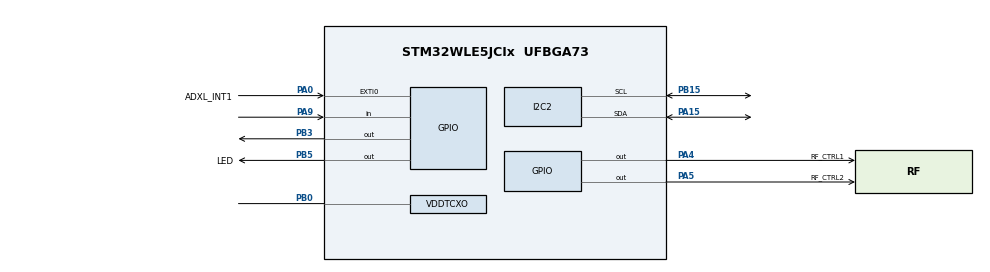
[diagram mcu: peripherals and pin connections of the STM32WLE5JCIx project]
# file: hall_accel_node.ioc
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ADC.NbrOfConversion=1
ADC.SamplingTimeCommon1=ADC_SAMPLETIME_79CYCLES_5
ADC.SamplingTimeCommon2=ADC_SAMPLETIME_79CYCLES_5
ADC.SelectedChannel=ADC_CHANNEL_VREFINT
I2C2.Timing=0x10805D88
Mcu.Family=STM32WL
Mcu.Name=STM32WLE5JCIx
Mcu.Package=UFBGA73
NVIC.EXTI0_IRQn=true\:0\:0\:false\:false\:true\:true\:true\:true
NVIC.PVD_PVM_IRQn=true\:0\:0\:false\:false\:true\:true\:true\:true
NVIC.PriorityGroup=NVIC_PRIORITYGROUP_4
NVIC.SUBGHZ_Radio_IRQn=true\:0\:0\:false\:false\:true\:true\:true\:true
NVIC.TIM17_IRQn=true\:15\:0\:false\:false\:true\:false\:true\:true
NVIC.TimeBase=TIM17_IRQn
NVIC.TimeBaseIP=TIM17
OSC_IN.Mode=HSE-TCXO
OSC_IN.Signal=RCC_OSC_IN
PA0.GPIO_Label=ADXL_INT1
PA0.GPIO_PuPd=GPIO_PULLDOWN
PA0.Signal=GPXTI0
PA15.Mode=I2C
PA15.Signal=I2C2_SDA
PA4.GPIO_Label=RF_CTRL1
PA4.Signal=GPIO_Output
PA5.GPIO_Label=RF_CTRL2
PA5.Signal=GPIO_Output
PA9.GPIO_PuPd=GPIO_PULLUP
PA9.Signal=GPIO_Input
PB0-VDD_TCXO.Mode=HSE-TCXO
PB0-VDD_TCXO.Signal=VDDTCXO
PB15.Mode=I2C
PB15.Signal=I2C2_SCL
PB3.Signal=GPIO_Output
PB5.GPIO_Label=LED
PB5.PinState=GPIO_PIN_SET
PB5.Signal=GPIO_Output
PB6.Signal=USART1_TX
PB7.Signal=USART1_RX
PC14-OSC32_IN.Mode=LSE-External-Oscillator
PC14-OSC32_IN.Signal=RCC_OSC32_IN
PC15-OSC32_OUT.Mode=LSE-External-Oscillator
PC15-OSC32_OUT.Signal=RCC_OSC32_OUT
ProjectManager.HeapSize=0x200
ProjectManager.StackSize=0x400
ProjectManager.TargetToolchain=STM32CubeIDE
RCC.AHBFreq_Value=48000000
RCC.APB1Freq_Value=48000000
RCC.APB1TimFreq_Value=48000000
RCC.APB2Freq_Value=48000000
RCC.APB2TimFreq_Value=48000000
RCC.APB3Freq_Value=48000000
RCC.CortexFreq_Value=48000000
RCC.HCLKFreq_Value=48000000
RCC.HSE_VALUE=32000000
RCC.HSI_VALUE=16000000
RCC.LSE_VALUE=32768
RCC.PLLN=24
RCC.RTCClockSelection=RCC_RTCCLKSOURCE_LSE
RCC.SYSCLKFreq_VALUE=48000000
RCC.SYSCLKSource=RCC_SYSCLKSOURCE_PLLCLK
RCC.VCOOutputFreq_Value=96000000
RTC.Alarm-Alarm\ A=RTC_ALARM_A
RTC.AsynchPrediv=31
RTC.BinMode=RTC_BINARY_ONLY
RTC.BinaryAutoClr_A-Alarm\ A=RTC_ALARMSUBSECONDBIN_AUTOCLR_NO
SUBGHZ_PHY.USE_LPM=true
SUBGHZ_PHY.USE_RTC=true
SUBGHZ_PHY.USE_UART=false
SubGHz_Phy.BSP.number=1
SubGHz_Phy0.BSP.STBoard=false
SubGHz_Phy0.BSP.api=Unknown
SubGHz_Phy0.BSP.condition=\!SEM_SUBGHZ_USER_APPLICATION | SEM_SUBGHZ_USE_RTC
SubGHz_Phy0.BSP.instance=RTC
SubGHz_Phy0.BSP.ip=RTC
SubGHz_Phy0.BSP.mode=RTC Enabled
SubGHz_Phy0.BSP.name=RTC
SubGHz_Phy0.BSP.solution=RTC
VP_ADC_Vref_Input.Mode=IN-Vrefint
VP_ADV_TRACE_VS_ADV_TRACE.Mode=ADV_TRACE_Enabled
VP_MISC_VS_MISC.Mode=MISC_Enabled
VP_RTC_VS_RTC_Activate.Mode=RTC_Enabled
VP_RTC_VS_RTC_Alarm_A_Intern.Mode=Alarm A
VP_RTC_VS_RTC_Calendar.Mode=RTC_Calendar
VP_SEQUENCER_VS_SEQUENCER.Mode=SEQUENCER_Enabled
VP_SUBGHZ_PHY_VS_SubGhzPhy.Mode=SubGhzPhy_Enabled
VP_SUBGHZ_VS_SUBGHZ.Mode=SUBGHZ_Activate
VP_SYS_VS_tim17.Mode=TIM17
VP_TIMER_VS_TIMER.Mode=TIMER_Enabled
VP_TINY_LPM_VS_TINY_LPM.Mode=TINY_LPM_Enabled
board=custom

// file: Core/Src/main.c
/* USER CODE BEGIN Header */
/**
 ******************************************************************************
 * @file           : main.c
 * @brief          : Main program body
 ******************************************************************************
 * @attention
 *
 * Copyright (c) 2026 STMicroelectronics.
 * All rights reserved.
 *
 * This software is licensed under terms that can be found in the LICENSE file
 * in the root directory of this software component.
 * If no LICENSE file comes with this software, it is provided AS-IS.
 *
 ******************************************************************************
 */
/* USER CODE END Header */
#include "main.h"
#include "adc.h"
#include "i2c.h"
#include "rtc.h"
#include "app_subghz_phy.h"
#include "gpio.h"

/* USER CODE BEGIN Includes */
#include <stdbool.h>
#include "adxl345.h"
#include "power_monitor.h"
extern volatile bool wake_from_accel;
/* USER CODE END Includes */

/* USER CODE BEGIN PV */
bool loriota_was_shutdown = false;
bool loriota_rtc_preserved = false;
bool loriota_woke_from_rtc = false;
/* USER CODE END PV */

void SystemClock_Config(void);

int main(void) {

	/* MCU Configuration--------------------------------------------------------*/

	/* Reset of all peripherals, Initializes the Flash interface and the Systick. */
	HAL_Init();

	/* Configure the system clock */
	SystemClock_Config();

	/* USER CODE BEGIN SysInit */
	hrtc.Instance = RTC;
	__HAL_RCC_RTCAPB_CLK_ENABLE();

	uint32_t shutdown_marker = HAL_RTCEx_BKUPRead(&hrtc, RTC_BKP_DR16);

	loriota_was_shutdown = (shutdown_marker == LORIOTA_SHUTDOWN_ARMED);

	loriota_woke_from_rtc = loriota_was_shutdown
			&& (__HAL_RTC_WAKEUPTIMER_GET_FLAG(
					&hrtc, RTC_FLAG_WUTF) != RESET);

	uint32_t backup_signature = HAL_RTCEx_BKUPRead(&hrtc, RTC_BKP_DR17);

	loriota_rtc_preserved = (backup_signature == LORIOTA_RTC_STATE_SIGNATURE);
	/* USER CODE END SysInit */

	/* Initialize all configured peripherals */
	MX_GPIO_Init();
	MX_RTC_Init();
	MX_SubGHz_Phy_Init();
	MX_I2C2_Init();
	MX_ADC_Init();
	/* USER CODE BEGIN 2 */
	PowerMonitor_Init();
	HAL_PWR_EnableBkUpAccess();

	if (!loriota_rtc_preserved) {
		HAL_RTCEx_BKUPWrite(&hrtc,
		RTC_BKP_DR17,
		LORIOTA_RTC_STATE_SIGNATURE);
	}

	HAL_RTCEx_BKUPWrite(&hrtc,
	RTC_BKP_DR16, 0UL);

	if (HAL_RTCEx_DeactivateWakeUpTimer(&hrtc) != HAL_OK) {
		Error_Handler();
	}

	HAL_NVIC_ClearPendingIRQ(RTC_WKUP_IRQn);
	HAL_NVIC_SetPriority(RTC_WKUP_IRQn, 1, 0);
	HAL_NVIC_EnableIRQ(RTC_WKUP_IRQn);

	if (loriota_was_shutdown && !loriota_woke_from_rtc) {
		uint8_t int_source = 0;

		if (ADXL345_ReadInterruptSource(&int_source) == HAL_OK) {
			if (int_source & 0x10U) {
				wake_from_accel = true;
			}
		}
	}

	ADXL345_Initialize();

	HAL_GPIO_WritePin(GPIOB, GPIO_PIN_5, GPIO_PIN_SET);

	/* USER CODE END 2 */

	/* Infinite loop */
	while (1) {
		MX_SubGHz_Phy_Process();

	}
}

void SystemClock_Config(void) {
	RCC_OscInitTypeDef RCC_OscInitStruct = { 0 };
	RCC_ClkInitTypeDef RCC_ClkInitStruct = { 0 };

	/** Configure LSE Drive Capability
	 */
	HAL_PWR_EnableBkUpAccess();
	__HAL_RCC_LSEDRIVE_CONFIG(RCC_LSEDRIVE_LOW);

	/** Configure the main internal regulator output voltage
	 */
	__HAL_PWR_VOLTAGESCALING_CONFIG(PWR_REGULATOR_VOLTAGE_SCALE1);

	/** Initializes the CPU, AHB and APB buses clocks
	 */
	RCC_OscInitStruct.OscillatorType = RCC_OSCILLATORTYPE_LSE
			| RCC_OSCILLATORTYPE_MSI;
	RCC_OscInitStruct.LSEState = RCC_LSE_ON;
	RCC_OscInitStruct.MSIState = RCC_MSI_ON;
	RCC_OscInitStruct.MSICalibrationValue = RCC_MSICALIBRATION_DEFAULT;
	RCC_OscInitStruct.MSIClockRange = RCC_MSIRANGE_6;
	RCC_OscInitStruct.PLL.PLLState = RCC_PLL_ON;
	RCC_OscInitStruct.PLL.PLLSource = RCC_PLLSOURCE_MSI;
	RCC_OscInitStruct.PLL.PLLM = RCC_PLLM_DIV1;
	RCC_OscInitStruct.PLL.PLLN = 24;
	RCC_OscInitStruct.PLL.PLLP = RCC_PLLP_DIV2;
	RCC_OscInitStruct.PLL.PLLR = RCC_PLLR_DIV2;
	RCC_OscInitStruct.PLL.PLLQ = RCC_PLLQ_DIV2;
	if (HAL_RCC_OscConfig(&RCC_OscInitStruct) != HAL_OK) {
		Error_Handler();
	}

	/** Configure the SYSCLKSource, HCLK, PCLK1 and PCLK2 clocks dividers
	 */
	RCC_ClkInitStruct.ClockType = RCC_CLOCKTYPE_HCLK3 | RCC_CLOCKTYPE_HCLK
			| RCC_CLOCKTYPE_SYSCLK | RCC_CLOCKTYPE_PCLK1 | RCC_CLOCKTYPE_PCLK2;
	RCC_ClkInitStruct.SYSCLKSource = RCC_SYSCLKSOURCE_PLLCLK;
	RCC_ClkInitStruct.AHBCLKDivider = RCC_SYSCLK_DIV1;
	RCC_ClkInitStruct.APB1CLKDivider = RCC_HCLK_DIV1;
	RCC_ClkInitStruct.APB2CLKDivider = RCC_HCLK_DIV1;
	RCC_ClkInitStruct.AHBCLK3Divider = RCC_SYSCLK_DIV1;

	if (HAL_RCC_ClockConfig(&RCC_ClkInitStruct, FLASH_LATENCY_2) != HAL_OK) {
		Error_Handler();
	}
}

void HAL_TIM_PeriodElapsedCallback(TIM_HandleTypeDef *htim) {
	if (htim->Instance == TIM17) {
		HAL_IncTick();
	}
}

void Error_Handler(void) {
	__disable_irq();
	while (1) {
	}
}
